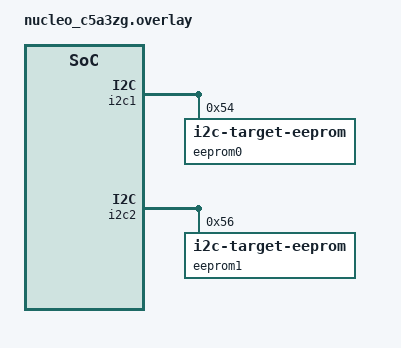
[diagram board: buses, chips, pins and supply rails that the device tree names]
/*
 * Copyright (c) 2026 STMicroelectronics
 * SPDX-License-Identifier: Apache-2.0
 */

/* I2C bus pins are exposed on the ST morpho header.
 *
 *  Bus        SDA               SCL
 *          Pin   Hdr         Pin   Hdr
 *  i2c1    PB7   CN5:9      PB6   CN5:10
 *  i2c2    PB4   CN9:6      PB10  CN9:7
 *
 * Short Pin PB7 to PB4, and PB6 to PB10, for the test to pass.
 */

&i2c1 {
	eeprom0: eeprom@54 {
		compatible = "zephyr,i2c-target-eeprom";
		reg = <0x54>;
		size = <256>;
	};
};

&i2c2 {
	eeprom1: eeprom@56 {
		compatible = "zephyr,i2c-target-eeprom";
		reg = <0x56>;
		size = <256>;
	};
};
